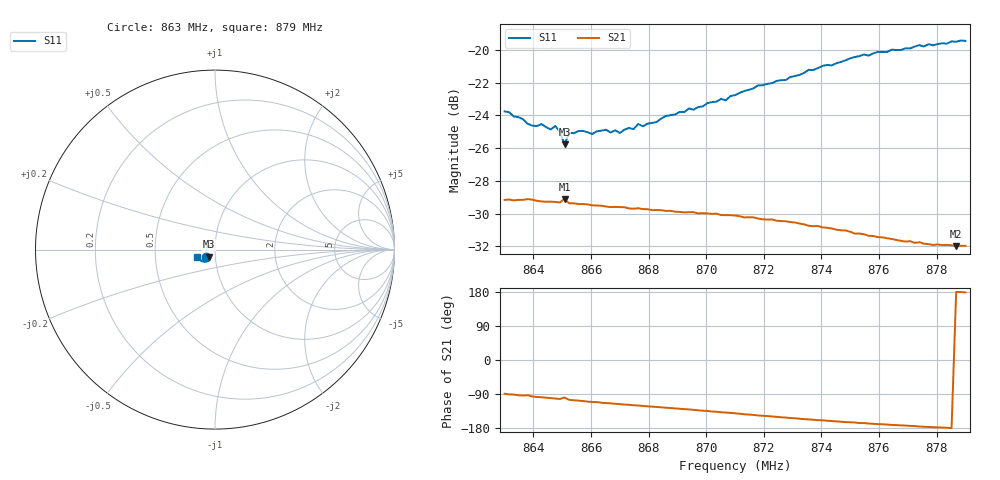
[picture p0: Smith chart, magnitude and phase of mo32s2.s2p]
# HZ S RI R 50
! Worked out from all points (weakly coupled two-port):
!   101 points, 863 MHz to 879 MHz, reference 50 ohm
!   highest |S21| = -29.09 dB at 865.08 MHz (marker M1); lowest = -32.0 dB at 878.68 MHz (marker M2)
!   lowest |S11| = -25.8 dB at 865.08 MHz (marker M3), VSWR 1.11, Z = 46.6 - j3.61 ohm
!   |S11| at or under -10 dB: start of sweep to end of sweep
!   S12 and S22 are empty: the file has one direction only
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8.63e8  -0.0509 -0.0403  0.000514 -0.0348  0 0  0 0
8.6396e8  -0.0441 -0.0388  -0.00385 -0.0347  0 0  0 0
8.6428e8  -0.0418 -0.0422  -0.00497 -0.0341  0 0  0 0
8.646e8  -0.0413 -0.0395  -0.00629 -0.0338  0 0  0 0
8.6476e8  -0.0424 -0.0404  -0.00698 -0.0336  0 0  0 0
8.6492e8  -0.0401 -0.0395  -0.00765 -0.0333  0 0  0 0
8.6508e8  -0.034 -0.0387  -0.00547 -0.0347  0 0  0 0
8.6524e8  -0.0385 -0.0405  -0.00888 -0.0328  0 0  0 0
8.6572e8  -0.0371 -0.0427  -0.0106 -0.0321  0 0  0 0
8.6604e8  -0.0356 -0.0424  -0.0119 -0.0313  0 0  0 0
8.6652e8  -0.0352 -0.0449  -0.0134 -0.0305  0 0  0 0
8.67e8  -0.0332 -0.0448  -0.0148 -0.0296  0 0  0 0
8.6732e8  -0.0334 -0.0471  -0.0155 -0.0289  0 0  0 0
8.6748e8  -0.0312 -0.0481  -0.016 -0.0285  0 0  0 0
8.6764e8  -0.0338 -0.0488  -0.0165 -0.0284  0 0  0 0
8.678e8  -0.0329 -0.0483  -0.0169 -0.028  0 0  0 0
8.6844e8  -0.0332 -0.0521  -0.0185 -0.0266  0 0  0 0
8.71e8  -0.0387 -0.0616  -0.0241 -0.0198  0 0  0 0
8.7372e8  -0.0558 -0.0665  -0.0268 -0.011  0 0  0 0
8.7644e8  -0.0799 -0.0604  -0.0262 -0.00399  0 0  0 0
8.7868e8  -0.0961 -0.0444  -0.0252 0.000223  0 0  0 0
8.79e8  -0.0981 -0.0416  -0.0252 0.000726  0 0  0 0
